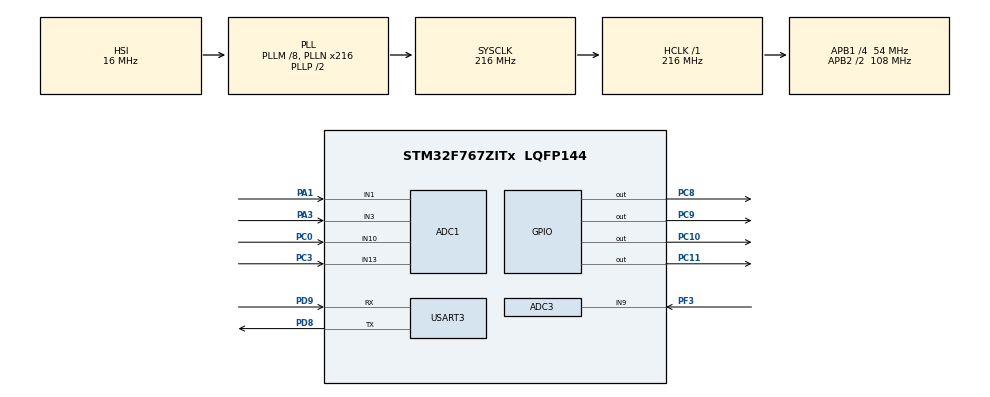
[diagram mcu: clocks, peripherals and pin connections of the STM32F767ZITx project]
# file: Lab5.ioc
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ADC1.Channel-0\#ChannelRegularConversion=ADC_CHANNEL_10
ADC1.Channel-1\#ChannelRegularConversion=ADC_CHANNEL_3
ADC1.ContinuousConvMode=ENABLE
ADC1.DMAContinuousRequests=ENABLE
ADC1.EOCSelection=ADC_EOC_SEQ_CONV
ADC1.NbrOfConversion=2
ADC1.NbrOfConversionFlag=1
ADC1.Rank-0\#ChannelRegularConversion=1
ADC1.Rank-1\#ChannelRegularConversion=2
ADC1.SamplingTime-0\#ChannelRegularConversion=ADC_SAMPLETIME_15CYCLES
ADC1.SamplingTime-1\#ChannelRegularConversion=ADC_SAMPLETIME_15CYCLES
ADC1.ScanConvMode=ADC_SCAN_ENABLE
ADC1.master=1
ADC3.Channel-0\#ChannelRegularConversion=ADC_CHANNEL_9
ADC3.NbrOfConversionFlag=1
ADC3.Rank-0\#ChannelRegularConversion=1
ADC3.SamplingTime-0\#ChannelRegularConversion=ADC_SAMPLETIME_3CYCLES
Dma.ADC1.0.Direction=DMA_PERIPH_TO_MEMORY
Dma.ADC1.0.FIFOMode=DMA_FIFOMODE_DISABLE
Dma.ADC1.0.Instance=DMA2_Stream0
Dma.ADC1.0.MemDataAlignment=DMA_MDATAALIGN_WORD
Dma.ADC1.0.MemInc=DMA_MINC_ENABLE
Dma.ADC1.0.Mode=DMA_CIRCULAR
Dma.ADC1.0.PeriphDataAlignment=DMA_PDATAALIGN_WORD
Dma.ADC1.0.PeriphInc=DMA_PINC_DISABLE
Dma.ADC1.0.Priority=DMA_PRIORITY_LOW
Dma.Request0=ADC1
Mcu.Family=STM32F7
Mcu.Name=STM32F767ZITx
Mcu.Package=LQFP144
NVIC.DMA2_Stream0_IRQn=true\:1\:0\:true\:false\:true\:false\:true\:true
NVIC.PriorityGroup=NVIC_PRIORITYGROUP_2
PA1.Signal=ADCx_IN1
PA3.Signal=ADCx_IN3
PC0.Signal=ADCx_IN10
PC10.Signal=GPIO_Output
PC11.Signal=GPIO_Output
PC3.Signal=ADCx_IN13
PC8.Signal=GPIO_Output
PC9.Signal=GPIO_Output
PD8.Mode=Asynchronous
PD8.Signal=USART3_TX
PD9.Mode=Asynchronous
PD9.Signal=USART3_RX
PF3.Mode=IN9
PF3.Signal=ADC3_IN9
ProjectManager.HeapSize=0x200
ProjectManager.StackSize=0x400
ProjectManager.TargetToolchain=STM32CubeIDE
RCC.AHBFreq_Value=216000000
RCC.APB1CLKDivider=RCC_HCLK_DIV4
RCC.APB1Freq_Value=54000000
RCC.APB1TimFreq_Value=108000000
RCC.APB2CLKDivider=RCC_HCLK_DIV2
RCC.APB2Freq_Value=108000000
RCC.APB2TimFreq_Value=216000000
RCC.CortexFreq_Value=216000000
RCC.HCLKFreq_Value=216000000
RCC.HSE_VALUE=25000000
RCC.HSI_VALUE=16000000
RCC.LSE_VALUE=32768
RCC.PLLM=8
RCC.PLLN=216
RCC.SYSCLKFreq_VALUE=216000000
RCC.SYSCLKSource=RCC_SYSCLKSOURCE_PLLCLK
RCC.USBFreq_Value=216000000
RCC.VCOOutputFreq_Value=432000000
SH.ADCx_IN1.0=ADC1_IN1,IN1
SH.ADCx_IN10.0=ADC1_IN10,IN10
SH.ADCx_IN13.0=ADC1_IN13,IN13
SH.ADCx_IN3.0=ADC1_IN3,IN3
USART3.VirtualMode-Asynchronous=VM_ASYNC
board=custom

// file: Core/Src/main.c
/* USER CODE BEGIN Header */
/**
 ******************************************************************************
 * @file           : main.c
 * @brief          : Main program body
 ******************************************************************************
 * @attention
 *
 * Copyright (c) 2023 STMicroelectronics.
 * All rights reserved.
 *
 * This software is licensed under terms that can be found in the LICENSE file
 * in the root directory of this software component.
 * If no LICENSE file comes with this software, it is provided AS-IS.
 *
 ******************************************************************************
 */
/* USER CODE END Header */
#include "main.h"
#include "adc.h"
#include "dma.h"
#include "usart.h"
#include "gpio.h"

/* USER CODE BEGIN Includes */
#include"string.h"
#include <math.h>
/* USER CODE END Includes */

/* USER CODE BEGIN PV */

int adc_val_8 = 0;
int adc_val_16 = 0;
uint32_t Hex = 501;
volatile  uint32_t adc_val = 0;
/* USER CODE END PV */

void SystemClock_Config(void);
/* USER CODE BEGIN PFP */
int average_8(int x);
int average_16(int x);
void displayHex(uint32_t x);
/* USER CODE END PFP */

int main(void) {

	/* MCU Configuration--------------------------------------------------------*/

	/* Reset of all peripherals, Initializes the Flash interface and the Systick. */
	HAL_Init();

	/* Configure the system clock */
	SystemClock_Config();

	/* Initialize all configured peripherals */
	MX_GPIO_Init();
	MX_DMA_Init();
	MX_ADC1_Init();
	MX_USART3_UART_Init();
	MX_ADC3_Init();
	/* USER CODE BEGIN 2 */
	HAL_ADC_Start_DMA(&hadc1, (uint32_t*) adc_val, 4096);
	/* USER CODE END 2 */

	/* Infinite loop */
	/* USER CODE BEGIN WHILE */

	while (1) {
			while(HAL_ADC_PollForConversion(&hadc1,100)!= HAL_OK){
			}
			adc_val =HAL_ADC_GetValue(&hadc1);
			adc_val_8 = average_8(adc_val);
			adc_val_16 = average_16(adc_val);
			displayHex(adc_val);

		/* USER CODE END WHILE */

	}
}

void SystemClock_Config(void) {
	RCC_OscInitTypeDef RCC_OscInitStruct = { 0 };
	RCC_ClkInitTypeDef RCC_ClkInitStruct = { 0 };

	/** Configure the main internal regulator output voltage
	 */
	__HAL_RCC_PWR_CLK_ENABLE();
	__HAL_PWR_VOLTAGESCALING_CONFIG(PWR_REGULATOR_VOLTAGE_SCALE1);

	/** Initializes the RCC Oscillators according to the specified parameters
	 * in the RCC_OscInitTypeDef structure.
	 */
	RCC_OscInitStruct.OscillatorType = RCC_OSCILLATORTYPE_HSI;
	RCC_OscInitStruct.HSIState = RCC_HSI_ON;
	RCC_OscInitStruct.HSICalibrationValue = RCC_HSICALIBRATION_DEFAULT;
	RCC_OscInitStruct.PLL.PLLState = RCC_PLL_ON;
	RCC_OscInitStruct.PLL.PLLSource = RCC_PLLSOURCE_HSI;
	RCC_OscInitStruct.PLL.PLLM = 8;
	RCC_OscInitStruct.PLL.PLLN = 216;
	RCC_OscInitStruct.PLL.PLLP = RCC_PLLP_DIV2;
	RCC_OscInitStruct.PLL.PLLQ = 2;
	RCC_OscInitStruct.PLL.PLLR = 2;
	if (HAL_RCC_OscConfig(&RCC_OscInitStruct) != HAL_OK) {
		Error_Handler();
	}

	/** Activate the Over-Drive mode
	 */
	if (HAL_PWREx_EnableOverDrive() != HAL_OK) {
		Error_Handler();
	}

	/** Initializes the CPU, AHB and APB buses clocks
	 */
	RCC_ClkInitStruct.ClockType = RCC_CLOCKTYPE_HCLK | RCC_CLOCKTYPE_SYSCLK
			| RCC_CLOCKTYPE_PCLK1 | RCC_CLOCKTYPE_PCLK2;
	RCC_ClkInitStruct.SYSCLKSource = RCC_SYSCLKSOURCE_PLLCLK;
	RCC_ClkInitStruct.AHBCLKDivider = RCC_SYSCLK_DIV1;
	RCC_ClkInitStruct.APB1CLKDivider = RCC_HCLK_DIV4;
	RCC_ClkInitStruct.APB2CLKDivider = RCC_HCLK_DIV2;

	if (HAL_RCC_ClockConfig(&RCC_ClkInitStruct, FLASH_LATENCY_7) != HAL_OK) {
		Error_Handler();
	}
}

/* USER CODE BEGIN 4 */
int average_8(int x) {
	static int samples[8];
	static int i = 0;
	static int total = 0;
	total += x - samples[i];
	samples[i] = x;
	i = (i == 7 ? 0 : i + 1);
	return total >> 3;

}

int average_16(int x) {
	static int samples[16];
	static int i = 0;
	static int total = 0;
	total += x - samples[i];
	samples[i] = x;
	i = (i == 15 ? 0 : i + 1);
	return total >> 4;

}
void displayHex(uint32_t x) {
	float Vin = (x / (pow(2, 12))) * 3.6;

	char buf[100];
	sprintf(buf, "ADC1_CH10  0x%08x Vin = %.2f V\r\n", x, Vin);
	HAL_UART_Transmit(&huart3, (uint8_t*) &buf, strlen(buf), 1000);

	if (Vin < 0.72) {
		HAL_GPIO_WritePin(GPIOC, GPIO_PIN_8, RESET);
		HAL_GPIO_WritePin(GPIOC, GPIO_PIN_9, RESET);
		HAL_GPIO_WritePin(GPIOC, GPIO_PIN_10, RESET);
		HAL_GPIO_WritePin(GPIOC, GPIO_PIN_11, RESET);
	} else if (Vin < 1.14) {
		HAL_GPIO_WritePin(GPIOC, GPIO_PIN_8, RESET);
		HAL_GPIO_WritePin(GPIOC, GPIO_PIN_9, SET);
		HAL_GPIO_WritePin(GPIOC, GPIO_PIN_10, RESET);
		HAL_GPIO_WritePin(GPIOC, GPIO_PIN_11, RESET);
	} else if (Vin < 1.86) {
		HAL_GPIO_WritePin(GPIOC, GPIO_PIN_8, RESET);
		HAL_GPIO_WritePin(GPIOC, GPIO_PIN_9, SET);
		HAL_GPIO_WritePin(GPIOC, GPIO_PIN_10, SET);
		HAL_GPIO_WritePin(GPIOC, GPIO_PIN_11, RESET);
	} else if (Vin < 2.58) {
		HAL_GPIO_WritePin(GPIOC, GPIO_PIN_8, RESET);
		HAL_GPIO_WritePin(GPIOC, GPIO_PIN_9, SET);
		HAL_GPIO_WritePin(GPIOC, GPIO_PIN_10, SET);
		HAL_GPIO_WritePin(GPIOC, GPIO_PIN_11, SET);
	} else {
		HAL_GPIO_WritePin(GPIOC, GPIO_PIN_8, SET);
		HAL_GPIO_WritePin(GPIOC, GPIO_PIN_9, SET);
		HAL_GPIO_WritePin(GPIOC, GPIO_PIN_10, SET);
		HAL_GPIO_WritePin(GPIOC, GPIO_PIN_11, SET);
	}
	HAL_Delay(500);

}
void HAL_ADC_ConvCpltCallback(ADC_HandleTypeDef *hadc) {
	HAL_GPIO_WritePin(GPIOC, GPIO_PIN_8, SET);
	HAL_GPIO_WritePin(GPIOC, GPIO_PIN_9, SET);
	HAL_GPIO_WritePin(GPIOC, GPIO_PIN_10, RESET);
	HAL_GPIO_WritePin(GPIOC, GPIO_PIN_11, RESET);
	char buf[100];
	sprintf(buf, "LD2 ON\r\n");
	HAL_UART_Transmit(&huart3, (uint8_t*) &buf, strlen(buf), 1000);
}
void HAL_ADC_ConvHalfCpltCallback(ADC_HandleTypeDef *hadc) {
	HAL_GPIO_WritePin(GPIOC, GPIO_PIN_8, SET);
	HAL_GPIO_WritePin(GPIOC, GPIO_PIN_9, SET);
	HAL_GPIO_WritePin(GPIOC, GPIO_PIN_10, SET);
	HAL_GPIO_WritePin(GPIOC, GPIO_PIN_11, SET);
	char buf[100];
	sprintf(buf, "LD2 OFF\r\n");
	HAL_UART_Transmit(&huart3, (uint8_t*) &buf, strlen(buf), 1000);
}
/* USER CODE END 4 */

void Error_Handler(void) {
	__disable_irq();
	while (1) {
	}
}
